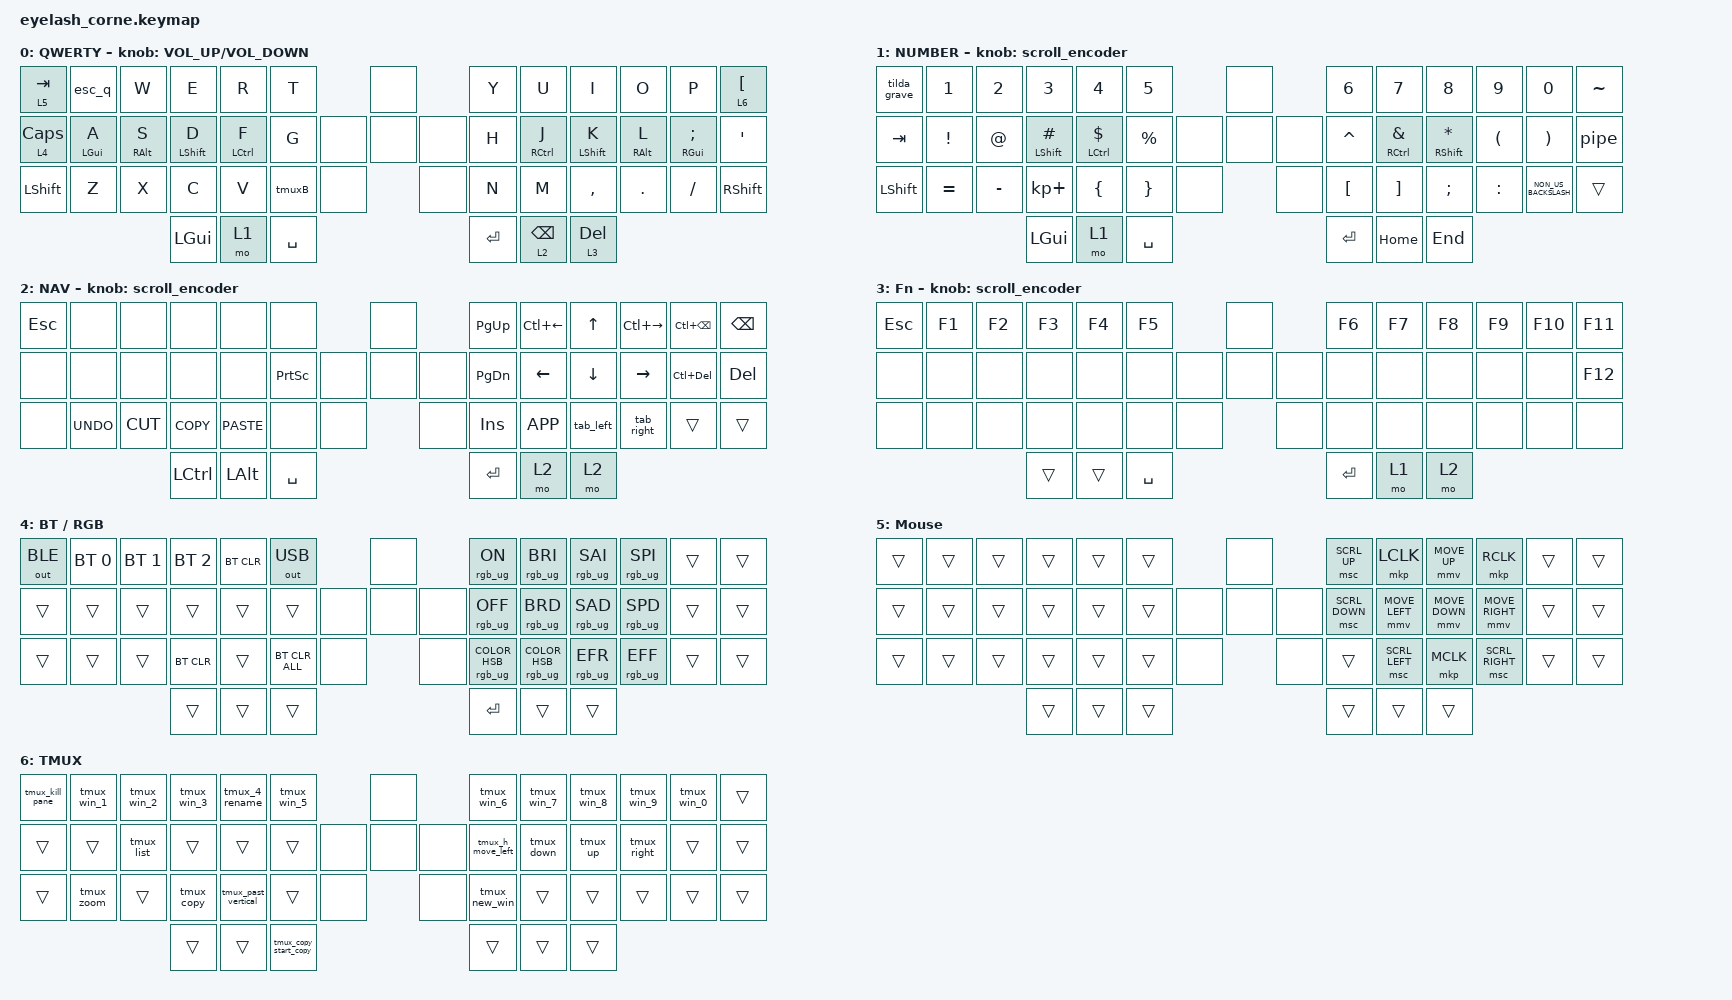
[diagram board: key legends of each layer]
#define ZMK_POINTING_DEFAULT_MOVE_VAL 1200  // 600
#define ZMK_POINTING_DEFAULT_SCRL_VAL 25   // 10

#include <input/processors.dtsi>
#include <zephyr/dt-bindings/input/input-event-codes.h>
#include <behaviors.dtsi>
#include <dt-bindings/zmk/bt.h>
#include <dt-bindings/zmk/keys.h>
#include <dt-bindings/zmk/outputs.h>
#include <dt-bindings/zmk/pointing.h>
#include <dt-bindings/zmk/rgb.h>

&mmv_input_listener { input-processors = <&zip_xy_scaler 2 1>; };

&msc_input_listener { input-processors = <&zip_scroll_scaler 2 1>; };

&msc {
    acceleration-exponent = <1>;      // 0
    time-to-max-speed-ms = <100>;       // 300
    delay-ms = <0>;                   // 0
};

&mmv {
    time-to-max-speed-ms = <500>;
    acceleration-exponent = <1>;
    trigger-period-ms = <16>;
};

&soft_off { hold-time-ms = <2000>; };

&lt { quick_tap_ms = <200>; };

&mt {
    bindings = <&kp>, <&kp>;

    flavor = "tap-preferred";
};

/ {
    rgb_encoder: rgb_encoder {
        compatible = "zmk,behavior-sensor-rotate";
        #sensor-binding-cells = <0>;
        bindings = <&rgb_ug RGB_BRI>, <&rgb_ug RGB_BRD>;
    };

    scroll_encoder: scroll_encoder {
        compatible = "zmk,behavior-sensor-rotate";
        #sensor-binding-cells = <0>;
        bindings = <&msc SCRL_DOWN>, <&msc SCRL_UP>;

        tap-ms = <100>;
    };

    combos {
        compatible = "zmk,combos";

        softoff {
            bindings = <&soft_off>;
            key-positions = <1 17 31>;
        };
    };

    macros {
        /* --- existing --- */

        tab_right: tab_right {
            compatible = "zmk,behavior-macro";
            #binding-cells = <0>;
            bindings = <&kp LC(TAB)>;
            label = "TAB_RIGHT";
        };

        tab_left: tab_left {
            compatible = "zmk,behavior-macro";
            #binding-cells = <0>;
            bindings = <&kp LC(LS(TAB))>;
            label = "TAB_LEFT";
        };

        /* --- tmux default-friendly --- */

        tmux_left: tmux_left {
            compatible = "zmk,behavior-macro";
            #binding-cells = <0>;
            bindings = <&kp LC(B) &kp LEFT_ARROW>;
            label = "TMUX_PANE_LEFT";
        };

        tmux_down: tmux_down {
            compatible = "zmk,behavior-macro";
            #binding-cells = <0>;
            bindings = <&kp LC(B) &kp DOWN_ARROW>;
            label = "TMUX_PANE_DOWN";
        };

        tmux_up: tmux_up {
            compatible = "zmk,behavior-macro";
            #binding-cells = <0>;
            bindings = <&kp LC(B) &kp UP_ARROW>;
            label = "TMUX_PANE_UP";
        };

        tmux_right: tmux_right {
            compatible = "zmk,behavior-macro";
            #binding-cells = <0>;
            bindings = <&kp LC(B) &kp RIGHT_ARROW>;
            label = "TMUX_PANE_RIGHT";
        };

        /* split: default tmux uses % and " */

        tmux_split_h: tmux_split_h {
            compatible = "zmk,behavior-macro";
            #binding-cells = <0>;
            bindings = <&kp LC(B) &kp PERCENT>;      /* % => split-window -h */
            label = "TMUX_SPLIT_H";
        };

        tmux_split_v: tmux_split_v {
            compatible = "zmk,behavior-macro";
            #binding-cells = <0>;
            bindings = <&kp LC(B) &kp LS(SQT)>;      /* " => split-window -v */
            label = "TMUX_SPLIT_V";
        };

        tmux_new_win: tmux_new_win {
            compatible = "zmk,behavior-macro";
            #binding-cells = <0>;
            bindings = <&kp LC(B) &kp C>;
            label = "TMUX_NEW_WIN";
        };

        tmux_next_win: tmux_next_win {
            compatible = "zmk,behavior-macro";
            #binding-cells = <0>;
            bindings = <&kp LC(B) &kp N>;
            label = "TMUX_NEXT_WIN";
        };

        tmux_prev_win: tmux_prev_win {
            compatible = "zmk,behavior-macro";
            #binding-cells = <0>;
            bindings = <&kp LC(B) &kp P>;
            label = "TMUX_PREV_WIN";
        };

        tmux_kill_pane: tmux_kill_pane {
            compatible = "zmk,behavior-macro";
            #binding-cells = <0>;
            bindings = <&kp LC(B) &kp X>;
            label = "TMUX_KILL_PANE";
        };

        tmux_zoom: tmux_zoom {
            compatible = "zmk,behavior-macro";
            #binding-cells = <0>;
            bindings = <&kp LC(B) &kp Z>;
            label = "TMUX_ZOOM";
        };

        tmux_detach: tmux_detach {
            compatible = "zmk,behavior-macro";
            #binding-cells = <0>;
            bindings = <&kp LC(B) &kp D>;
            label = "TMUX_DETACH";
        };

        tmux_rename: tmux_rename {
            compatible = "zmk,behavior-macro";
            #binding-cells = <0>;
            bindings = <&kp LC(B) &kp COMMA>;        /* prefix + , */
            label = "TMUX_RENAME";
        };

        tmux_win_1: tmux_win_1 {
            compatible = "zmk,behavior-macro";
            #binding-cells = <0>;
            bindings = <&kp LC(B) &kp N1>;
            label = "TMUX_WIN_1";
        };

        tmux_win_2: tmux_win_2 {
            compatible = "zmk,behavior-macro";
            #binding-cells = <0>;
            bindings = <&kp LC(B) &kp N2>;
            label = "TMUX_WIN_2";
        };

        tmux_win_3: tmux_win_3 {
            compatible = "zmk,behavior-macro";
            #binding-cells = <0>;
            bindings = <&kp LC(B) &kp N3>;
            label = "TMUX_WIN_3";
        };

        tmux_win_4: tmux_win_4 {
            compatible = "zmk,behavior-macro";
            #binding-cells = <0>;
            bindings = <&kp LC(B) &kp N4>;
            label = "TMUX_WIN_4";
        };

        tmux_win_5: tmux_win_5 {
            compatible = "zmk,behavior-macro";
            #binding-cells = <0>;
            bindings = <&kp LC(B) &kp N5>;
            label = "TMUX_WIN_5";
        };

        tmux_win_6: tmux_win_6 {
            compatible = "zmk,behavior-macro";
            #binding-cells = <0>;
            bindings = <&kp LC(B) &kp N6>;
            label = "TMUX_WIN_6";
        };

        tmux_win_7: tmux_win_7 {
            compatible = "zmk,behavior-macro";
            #binding-cells = <0>;
            bindings = <&kp LC(B) &kp N7>;
            label = "TMUX_WIN_7";
        };

        tmux_win_8: tmux_win_8 {
            compatible = "zmk,behavior-macro";
            #binding-cells = <0>;
            bindings = <&kp LC(B) &kp N8>;
            label = "TMUX_WIN_8";
        };

        tmux_win_9: tmux_win_9 {
            compatible = "zmk,behavior-macro";
            #binding-cells = <0>;
            bindings = <&kp LC(B) &kp N9>;
            label = "TMUX_WIN_9";
        };

        tmux_win_0: tmux_win_0 {
            compatible = "zmk,behavior-macro";
            #binding-cells = <0>;
            bindings = <&kp LC(B) &kp N0>;
            label = "TMUX_WIN_0";
        };

        tmux_past: tmux_past {
            compatible = "zmk,behavior-macro";
            #binding-cells = <0>;
            bindings = <&kp LC(B) &kp RIGHT_BRACKET>;
            label = "TMUX_PAST";
        };

        tmux_sessions: tmux_sessions {
            compatible = "zmk,behavior-macro";
            #binding-cells = <0>;
            bindings = <&kp LC(B) &kp LS(S)>;
            label = "TMUX_SESSIONS";
        };

        tmux_start_c: tmux_start_copy {
            compatible = "zmk,behavior-macro";
            #binding-cells = <0>;
            bindings = <&kp RC(SPACE)>;
            label = "TMUX_START_COPY";
        };

        tmux_c_clip: tmux_c_clip {
            compatible = "zmk,behavior-macro";
            #binding-cells = <0>;
            bindings = <&kp LC(W)>;
            label = "TMUX_C_CLIP";
        };

        tmux_copy: tmux_copy {
            compatible = "zmk,behavior-macro";
            #binding-cells = <0>;
            bindings = <&kp LC(B) &kp LEFT_BRACKET>;
            label = "TMUX_COPY";
        };

        tmux_w_list: tmux_w_list {
            compatible = "zmk,behavior-macro";
            #binding-cells = <0>;
            bindings = <&kp LC(B) &kp W>;
            label = "TMUX_W_LIST";
        };
    };

    behaviors {
        insert_up: insert_up {
            compatible = "zmk,behavior-tap-dance";
            label = "INSERT_UP";
            #binding-cells = <0>;
            tapping-term-ms = <200>;
            bindings = <&kp UP_ARROW>, <&kp INSERT>;
        };

        esc_q: esc_q {
            compatible = "zmk,behavior-tap-dance";
            label = "ESC_Q";
            #binding-cells = <0>;
            bindings = <&kp Q>, <&kp ESCAPE>;
        };

        tmuxB: tmuxB {
            compatible = "zmk,behavior-tap-dance";
            label = "TMUXB";
            #binding-cells = <0>;
            bindings = <&kp B>, <&kp LC(B)>;
        };

        pipe: pipe {
            compatible = "zmk,behavior-tap-dance";
            label = "PIPE";
            #binding-cells = <0>;
            bindings = <&kp PIPE>, <&kp BACKSLASH>;
        };

        tilda_grave: tilda_grave {
            compatible = "zmk,behavior-tap-dance";
            label = "TILDA_GRAVE";
            #binding-cells = <0>;
            bindings = <&kp TILDE>, <&kp GRAVE>;
        };

        tmux_h_move_left: tmux_h_move_left {
            compatible = "zmk,behavior-tap-dance";
            label = "TMUX_H_MOVE_LEFT";
            #binding-cells = <0>;
            bindings = <&tmux_left>, <&tmux_split_h>;
        };

        tmux_past_vertical: tmux_past_vertical {
            compatible = "zmk,behavior-tap-dance";
            label = "TMUX_PAST_VERTICAL";
            #binding-cells = <0>;
            bindings = <&tmux_past>, <&tmux_split_v>;
        };

        tmux_4_rename: tmux_4_rename {
            compatible = "zmk,behavior-tap-dance";
            label = "TMUX_4_RENAME";
            #binding-cells = <0>;
            bindings = <&tmux_win_4>, <&tmux_rename>;
        };

        tmux_copy_start_copy: tmux_copy_start_copy {
            compatible = "zmk,behavior-tap-dance";
            label = "TMUX_COPY_START_COPY";
            #binding-cells = <0>;
            bindings = <&tmux_start_c>, <&tmux_c_clip>;
        };

        tmux_list: tmux_list {
            compatible = "zmk,behavior-tap-dance";
            label = "TMUX_LIST";
            #binding-cells = <0>;
            bindings = <&tmux_w_list>, <&tmux_sessions>;
        };
    };

    keymap {
        compatible = "zmk,keymap";

        default_layer {
            display-name = "QWERTY";
            bindings = <
&lt 5 TAB       &esc_q          &kp W            &kp E             &kp R               &kp T                      &none         &kp Y      &kp U                &kp I             &kp O            &kp P                    &lt 6 LEFT_BRACKET
&lt 4 CAPSLOCK  &mt LEFT_GUI A  &mt RIGHT_ALT S  &mt LEFT_SHIFT D  &mt LEFT_CONTROL F  &kp G               &none  &none  &none  &kp H      &mt RIGHT_CONTROL J  &mt LEFT_SHIFT K  &mt RIGHT_ALT L  &mt RIGHT_GUI SEMICOLON  &kp SQT
&kp LEFT_SHIFT  &kp Z           &kp X            &kp C             &kp V               &tmuxB     &none           &none         &kp N      &kp M                &kp COMMA         &kp DOT          &kp SLASH                &kp RIGHT_SHIFT
                                                 &kp LGUI          &mo 1               &kp SPACE                                &kp ENTER  &lt 2 BACKSPACE      &lt 3 DELETE
            >;

            sensor-bindings = <&inc_dec_kp C_VOLUME_UP C_VOLUME_DOWN>;
        };

        lower_layer {
            display-name = "NUMBER";
            bindings = <
&tilda_grave  &kp NUMBER_1     &kp NUMBER_2  &kp NUMBER_3         &kp NUMBER_4             &kp N5                       &none         &kp NUMBER_6      &kp N7                       &kp N8                    &kp N9                &kp N0                 &kp TILDE
&kp TAB       &kp EXCLAMATION  &kp AT_SIGN   &mt LEFT_SHIFT HASH  &mt LEFT_CONTROL DOLLAR  &kp PERCENT           &none  &none  &none  &kp CARET         &mt RIGHT_CONTROL AMPERSAND  &mt RIGHT_SHIFT ASTERISK  &kp LEFT_PARENTHESIS  &kp RIGHT_PARENTHESIS  &pipe
&kp LSHFT     &kp EQUAL        &kp MINUS     &kp KP_PLUS          &kp LBRC                 &kp RBRC     &none           &none         &kp LEFT_BRACKET  &kp RIGHT_BRACKET            &kp SEMICOLON             &kp COLON             &kp NON_US_BACKSLASH   &trans
                                             &kp LEFT_GUI         &mo 1                    &kp SPACE                                  &kp ENTER         &kp HOME                     &kp END
            >;

            sensor-bindings = <&scroll_encoder>;
        };

        raise_layer {
            display-name = "NAV";
            bindings = <
&kp ESC  &none       &none      &none             &none         &none                            &none         &kp PAGE_UP    &kp LC(LEFT_ARROW)  &kp UP_ARROW    &kp LC(RIGHT)  &kp LC(BACKSPACE)  &kp BACKSPACE
&none    &none       &none      &none             &none         &kp PRINTSCREEN           &none  &none  &none  &kp PAGE_DOWN  &kp LEFT_ARROW      &kp DOWN_ARROW  &kp RIGHT      &kp LC(DELETE)     &kp DELETE
&none    &kp K_UNDO  &kp K_CUT  &kp K_COPY        &kp K_PASTE   &none            &none           &none         &kp INSERT     &kp K_APP           &tab_left       &tab_right     &trans             &trans
                                &kp LEFT_CONTROL  &kp LEFT_ALT  &kp SPACE                                      &kp ENTER      &mo 2               &mo 2
            >;

            sensor-bindings = <&scroll_encoder>;
        };

        adjust_layer {
            display-name = "Fn";
            bindings = <
&kp ESCAPE  &kp F1  &kp F2  &kp F3  &kp F4  &kp F5                     &none         &kp F6     &kp F7  &kp F8  &kp F9  &kp F10  &kp F11
&none       &none   &none   &none   &none   &none               &none  &none  &none  &none      &none   &none   &none   &none    &kp F12
&none       &none   &none   &none   &none   &none      &none           &none         &none      &none   &none   &none   &none    &none
                            &trans  &trans  &kp SPACE                                &kp ENTER  &mo 1   &mo 2
            >;

            sensor-bindings = <&scroll_encoder>;
        };

        layer_8 {
            display-name = "BT / RGB";
            bindings = <
&out OUT_BLE  &bt BT_SEL 0  &bt BT_SEL 1  &bt BT_SEL 2  &bt BT_CLR  &out OUT_USB                    &none         &rgb_ug RGB_ON                    &rgb_ug RGB_BRI                   &rgb_ug RGB_SAI  &rgb_ug RGB_SPI  &trans  &trans
&trans        &trans        &trans        &trans        &trans      &trans                   &none  &none  &none  &rgb_ug RGB_OFF                   &rgb_ug RGB_BRD                   &rgb_ug RGB_SAD  &rgb_ug RGB_SPD  &trans  &trans
&trans        &trans        &trans        &bt BT_CLR    &trans      &bt BT_CLR_ALL  &none           &none         &rgb_ug RGB_COLOR_HSB(222,76,46)  &rgb_ug RGB_COLOR_HSB(136,78,47)  &rgb_ug RGB_EFR  &rgb_ug RGB_EFF  &trans  &trans
                                          &trans        &trans      &trans                                        &kp ENTER                         &trans                            &trans
            >;
        };

        layer_5 {
            display-name = "Mouse";
            bindings = <
&trans  &trans  &trans  &trans  &trans  &trans                  &none         &msc SCRL_UP    &mkp LCLK       &mmv MOVE_UP    &mkp RCLK        &trans  &trans
&trans  &trans  &trans  &trans  &trans  &trans           &none  &none  &none  &msc SCRL_DOWN  &mmv MOVE_LEFT  &mmv MOVE_DOWN  &mmv MOVE_RIGHT  &trans  &trans
&trans  &trans  &trans  &trans  &trans  &trans  &none           &none         &trans          &msc SCRL_LEFT  &mkp MCLK       &msc SCRL_RIGHT  &trans  &trans
                        &trans  &trans  &trans                                &trans          &trans          &trans
            >;
        };

        tmux {
            display-name = "TMUX";
            bindings = <
&tmux_kill_pane  &tmux_win_1  &tmux_win_2  &tmux_win_3  &tmux_4_rename       &tmux_win_5                            &none         &tmux_win_6        &tmux_win_7  &tmux_win_8  &tmux_win_9  &tmux_win_0  &trans
&trans           &trans       &tmux_list   &trans       &trans               &trans                          &none  &none  &none  &tmux_h_move_left  &tmux_down   &tmux_up     &tmux_right  &trans       &trans
&trans           &tmux_zoom   &trans       &tmux_copy   &tmux_past_vertical  &trans                 &none           &none         &tmux_new_win      &trans       &trans       &trans       &trans       &trans
                                           &trans       &trans               &tmux_copy_start_copy                                &trans             &trans       &trans
            >;
        };
    };
};
